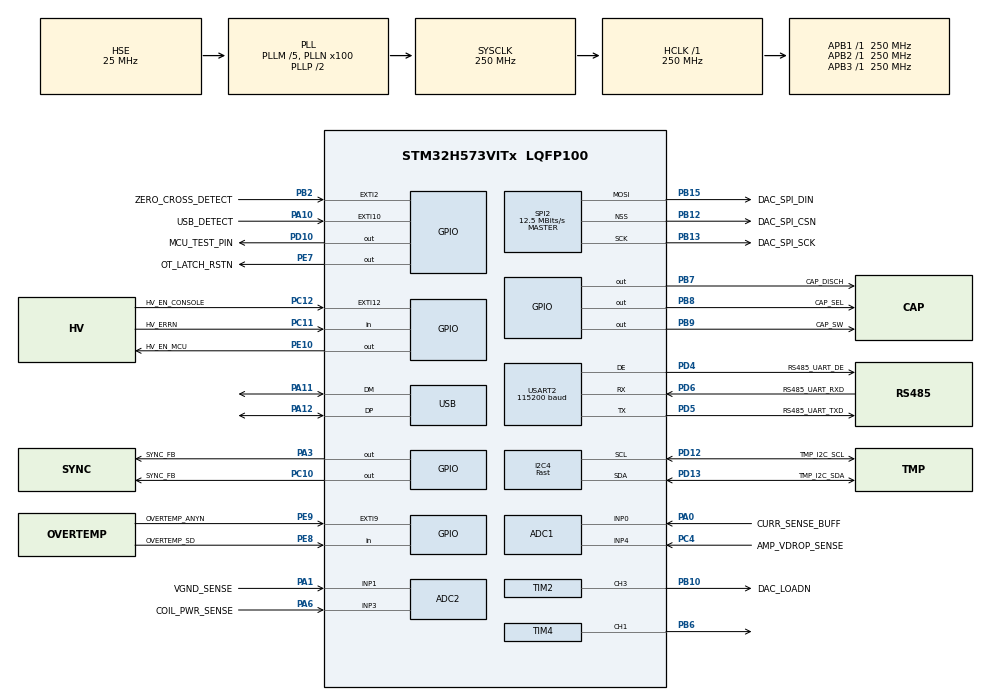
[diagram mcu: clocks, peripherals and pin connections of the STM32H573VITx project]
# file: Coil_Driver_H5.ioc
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ADC1.Channel-0\#ChannelRegularConversion=ADC_CHANNEL_0
ADC1.Channel-1\#ChannelRegularConversion=ADC_CHANNEL_4
ADC1.ContinuousConvMode=DISABLE
ADC1.ConversionDataManagement=ADC_CONVERSIONDATA_DMA_CIRCULAR
ADC1.DMAContinuousRequests=ENABLE
ADC1.EOCSelection=ADC_EOC_SEQ_CONV
ADC1.ExternalTrigConv=ADC_EXTERNALTRIG_T15_TRGO
ADC1.ExternalTrigConvEdge=ADC_EXTERNALTRIGCONVEDGE_RISING
ADC1.MonitoredBy-0\#ChannelRegularConversion=__NULL
ADC1.MonitoredBy-1\#ChannelRegularConversion=__NULL
ADC1.NbrOfConversion=2
ADC1.NbrOfConversionFlag=1
ADC1.OffsetNumber-0\#ChannelRegularConversion=ADC_OFFSET_NONE
ADC1.OffsetNumber-1\#ChannelRegularConversion=ADC_OFFSET_NONE
ADC1.Overrun=ADC_OVR_DATA_PRESERVED
ADC1.OversamplingMode=ENABLE
ADC1.OversamplingStopReset=ADC_REGOVERSAMPLING_RESUMED_MODE
ADC1.Rank-0\#ChannelRegularConversion=1
ADC1.Rank-1\#ChannelRegularConversion=2
ADC1.Ratio=ADC_OVERSAMPLING_RATIO_16
ADC1.RightBitShift=ADC_RIGHTBITSHIFT_NONE
ADC1.SamplingTime-0\#ChannelRegularConversion=ADC_SAMPLETIME_6CYCLES_5
ADC1.SamplingTime-1\#ChannelRegularConversion=ADC_SAMPLETIME_6CYCLES_5
ADC1.master=1
ADC2.Channel-0\#ChannelRegularConversion=ADC_CHANNEL_1
ADC2.Channel-1\#ChannelRegularConversion=ADC_CHANNEL_3
ADC2.ContinuousConvMode=DISABLE
ADC2.ConversionDataManagement=ADC_CONVERSIONDATA_DMA_CIRCULAR
ADC2.DMAContinuousRequests=ENABLE
ADC2.EOCSelection=ADC_EOC_SEQ_CONV
ADC2.ExternalTrigConv=ADC_EXTERNALTRIG_T15_TRGO
ADC2.MonitoredBy-0\#ChannelRegularConversion=__NULL
ADC2.MonitoredBy-1\#ChannelRegularConversion=__NULL
ADC2.NbrOfConversion=2
ADC2.NbrOfConversionFlag=1
ADC2.OffsetNumber-0\#ChannelRegularConversion=ADC_OFFSET_NONE
ADC2.OffsetNumber-1\#ChannelRegularConversion=ADC_OFFSET_NONE
ADC2.OversamplingMode=ENABLE
ADC2.OversamplingStopReset=ADC_REGOVERSAMPLING_RESUMED_MODE
ADC2.Rank-0\#ChannelRegularConversion=1
ADC2.Rank-1\#ChannelRegularConversion=2
ADC2.Ratio=ADC_OVERSAMPLING_RATIO_16
ADC2.RightBitShift=ADC_RIGHTBITSHIFT_NONE
ADC2.SamplingTime-0\#ChannelRegularConversion=ADC_SAMPLETIME_6CYCLES_5
ADC2.SamplingTime-1\#ChannelRegularConversion=ADC_SAMPLETIME_6CYCLES_5
BOOTPATH.BootPathName=LEGACY
BOOTPATH.UserSelectedBootPath=LEGACY
CORTEX_M33_NS.Number-Cortex_Memory_Protection_Unit_Region0_OTP_RO_AREAS_Settings=MPU_REGION_NUMBER0
CORTEX_M33_NS.default_mode_Activation=1
CORTEX_M33_NS.userName=CORTEX_M33
GPDMA1.CIRCULARMODE_GPDMACH0=ENABLE
GPDMA1.CIRCULARMODE_GPDMACH1=ENABLE
GPDMA1.DESTDATAWIDTH_GPDMACH0=DMA_DEST_DATAWIDTH_HALFWORD
GPDMA1.DESTDATAWIDTH_GPDMACH1=DMA_DEST_DATAWIDTH_HALFWORD
GPDMA1.DESTINC_GPDMACH0=DMA_DINC_INCREMENTED
GPDMA1.DESTINC_GPDMACH1=DMA_DINC_INCREMENTED
GPDMA1.IPHANDLE_GPDMACH0-SIMPLEREQUEST_GPDMACH0=__NULL
GPDMA1.IPHANDLE_GPDMACH1-SIMPLEREQUEST_GPDMACH1=__NULL
GPDMA1.LINKALLOCATEDPORT_CIRCULAR_GPDMACH0=DMA_LINK_ALLOCATED_PORT1
GPDMA1.LINKALLOCATEDPORT_CIRCULAR_GPDMACH1=DMA_LINK_ALLOCATED_PORT1
GPDMA1.PRIORITY_LL_CIRCULAR_GPDMACH0=DMA_LOW_PRIORITY_MID_WEIGHT
GPDMA1.PRIORITY_LL_CIRCULAR_GPDMACH1=DMA_LOW_PRIORITY_MID_WEIGHT
GPDMA1.REQUEST_GPDMACH0=GPDMA1_REQUEST_ADC1
GPDMA1.REQUEST_GPDMACH1=GPDMA1_REQUEST_ADC2
GPDMA1.SRCDATAWIDTH_GPDMACH0=DMA_SRC_DATAWIDTH_HALFWORD
GPDMA1.SRCDATAWIDTH_GPDMACH1=DMA_SRC_DATAWIDTH_HALFWORD
GPDMA1.TRANSFERALLOCATEDPORTDEST_GPDMACH0=DMA_DEST_ALLOCATED_PORT1
GPDMA1.TRANSFERALLOCATEDPORTDEST_GPDMACH1=DMA_DEST_ALLOCATED_PORT1
I2C4.I2C_Speed_Mode=I2C_Fast
I2C4.Timing=0x10C043E5
Mcu.Family=STM32H5
Mcu.Name=STM32H573VITx
Mcu.Package=LQFP100
NVIC.ADC1_IRQn=true\:0\:0\:false\:false\:true\:true\:true\:true
NVIC.EXTI10_IRQn=true\:0\:0\:false\:false\:true\:true\:false\:true
NVIC.EXTI12_IRQn=true\:0\:0\:false\:false\:true\:true\:false\:true
NVIC.EXTI2_IRQn=true\:0\:0\:false\:false\:true\:true\:false\:true
NVIC.EXTI9_IRQn=true\:0\:0\:false\:false\:true\:true\:false\:true
NVIC.GPDMA1_Channel0_IRQn=true\:0\:0\:false\:false\:true\:false\:true\:true
NVIC.GPDMA1_Channel1_IRQn=true\:0\:0\:false\:false\:true\:false\:true\:true
NVIC.I2C4_ER_IRQn=true\:0\:0\:false\:false\:true\:true\:true\:true
NVIC.I2C4_EV_IRQn=true\:0\:0\:false\:false\:true\:true\:true\:true
NVIC.PriorityGroup=NVIC_PRIORITYGROUP_4
NVIC.TIM2_IRQn=true\:0\:0\:false\:false\:true\:true\:false\:true
NVIC.USB_DRD_FS_IRQn=true\:10\:0\:true\:false\:true\:true\:true\:true
PA0.GPIO_Label=CURR_SENSE_BUFF
PA0.Signal=ADCx_INP0
PA1.GPIO_Label=VGND_SENSE
PA1.Signal=ADCx_INP1
PA10.GPIO_Label=USB_DETECT
PA10.GPIO_ModeDefaultEXTI=GPIO_MODE_IT_RISING_FALLING
PA10.Signal=GPXTI10
PA11.Mode=Device
PA11.Signal=USB_DM
PA12.Mode=Device
PA12.Signal=USB_DP
PA13(JTMS/SWDIO).GPIO_Label=SWDIO
PA13(JTMS/SWDIO).Mode=Trace_Asynchronous_SW
PA13(JTMS/SWDIO).Signal=DEBUG_JTMS-SWDIO
PA14(JTCK/SWCLK).GPIO_Label=SWCLK
PA14(JTCK/SWCLK).Mode=Trace_Asynchronous_SW
PA14(JTCK/SWCLK).Signal=DEBUG_JTCK-SWCLK
PA15(JTDI).GPIO_Label=SYNC_IN
PA15(JTDI).Signal=S_TIM2_ETR
PA3.GPIO_Label=SYNC_FB
PA3.Signal=GPIO_Output
PA6.GPIO_Label=COIL_PWR_SENSE
PA6.Signal=ADCx_INP3
PB0.Signal=S_TIM3_CH3
PB1.Signal=S_TIM3_CH4
PB10.GPIO_Label=DAC_LOADN
PB10.Signal=S_TIM2_CH3
PB12.GPIO_Label=DAC_SPI_CSN
PB12.GPIO_Mode=GPIO_MODE_AF_PP
PB12.GPIO_PuPd=GPIO_NOPULL
PB12.GPIO_Speed=GPIO_SPEED_FREQ_LOW
PB12.Mode=NSS_Signal_Hard_Output
PB12.Signal=SPI2_NSS
PB13.GPIO_Label=DAC_SPI_SCK
PB13.GPIO_Mode=GPIO_MODE_AF_PP
PB13.GPIO_PuPd=GPIO_NOPULL
PB13.GPIO_Speed=GPIO_SPEED_FREQ_LOW
PB13.Mode=TX_Only_Simplex_Unidirect_Master
PB13.Signal=SPI2_SCK
PB14.GPIO_Label=DAC_SPI_DOUT
PB14.Signal=SPI2_MISO
PB15.GPIO_Label=DAC_SPI_DIN
PB15.GPIO_Mode=GPIO_MODE_AF_PP
PB15.GPIO_PuPd=GPIO_NOPULL
PB15.GPIO_Speed=GPIO_SPEED_FREQ_LOW
PB15.Mode=TX_Only_Simplex_Unidirect_Master
PB15.Signal=SPI2_MOSI
PB2.GPIO_Label=ZERO_CROSS_DETECT
PB2.GPIO_ModeDefaultEXTI=GPIO_MODE_IT_RISING_FALLING
PB2.Signal=GPXTI2
PB3(JTDO/TRACESWO).GPIO_Label=SWO
PB3(JTDO/TRACESWO).Mode=Trace_Asynchronous_SW
PB3(JTDO/TRACESWO).Signal=DEBUG_JTDO-SWO
PB6.Signal=S_TIM4_CH1
PB7.GPIO_Label=CAP_DISCH
PB7.Signal=GPIO_Output
PB8.GPIO_Label=CAP_SEL
PB8.Signal=GPIO_Output
PB9.GPIO_Label=CAP_SW
PB9.Signal=GPIO_Output
PC10.GPIO_Label=SYNC_FB
PC10.Signal=GPIO_Output
PC11.GPIO_Label=HV_ERRN
PC11.Signal=GPIO_Input
PC12.GPIO_Label=HV_EN_CONSOLE
PC12.GPIO_ModeDefaultEXTI=GPIO_MODE_IT_RISING_FALLING
PC12.Signal=GPXTI12
PC4.GPIO_Label=AMP_VDROP_SENSE
PC4.GPIO_Mode=GPIO_MODE_ANALOG
PC4.GPIO_Pd=GPIO_NOPULL
PC4.Signal=ADCx_INP4
PC6.Signal=S_TIM3_CH1
PD10.GPIO_Label=MCU_TEST_PIN
PD10.Signal=GPIO_Output
PD12.GPIO_Label=TMP_I2C_SCL
PD12.Mode=I2C
PD12.Signal=I2C4_SCL
PD13.GPIO_Label=TMP_I2C_SDA
PD13.Mode=I2C
PD13.Signal=I2C4_SDA
PD4.GPIO_Label=RS485_UART_DE
PD4.Mode=Hardware Flow Control (RS485)
PD4.Signal=USART2_DE
PD5.GPIO_Label=RS485_UART_TXD
PD5.Mode=Asynchronous
PD5.Signal=USART2_TX
PD6.GPIO_Label=RS485_UART_RXD
PD6.Mode=Asynchronous
PD6.Signal=USART2_RX
PE10.GPIO_Label=HV_EN_MCU
PE10.Signal=GPIO_Output
PE7.GPIO_Label=OT_LATCH_RSTN
PE7.Signal=GPIO_Output
PE8.GPIO_Label=OVERTEMP_SD
PE8.Signal=GPIO_Input
PE9.GPIO_Label=OVERTEMP_ANYN
PE9.GPIO_ModeDefaultEXTI=GPIO_MODE_IT_FALLING
PE9.Signal=GPXTI9
PH0-OSC_IN(PH0).GPIO_Label=OSC_IN
PH0-OSC_IN(PH0).Mode=HSE-External-Clock-Source
PH0-OSC_IN(PH0).Signal=RCC_OSC_IN
ProjectManager.HeapSize=0x300
ProjectManager.StackSize=0x400
ProjectManager.TargetToolchain=STM32CubeIDE
RCC.ADCCLockSelection=RCC_ADCDACCLKSOURCE_PLL2R
RCC.ADCFreq_Value=60000000
RCC.AHBFreq_Value=250000000
RCC.APB1Freq_Value=250000000
RCC.APB1TimFreq_Value=250000000
RCC.APB2Freq_Value=250000000
RCC.APB2TimFreq_Value=250000000
RCC.APB3Freq_Value=250000000
RCC.CSI_VALUE=4000000
RCC.CortexFreq_Value=250000000
RCC.EPOD_VALUE=25000000
RCC.HCLKFreq_Value=250000000
RCC.HSE_VALUE=25000000
RCC.HSI48_VALUE=48000000
RCC.HSI_VALUE=64000000
RCC.LSE_VALUE=32768
RCC.LSIRC_VALUE=32000
RCC.PLL1Q=5
RCC.PLL2N=60
RCC.PLL2Q=4
RCC.PLL2R=4
RCC.PLLFRACN=0
RCC.PLLM=5
RCC.PLLN=100
RCC.PLLSourceVirtual=RCC_PLL1_SOURCE_HSE
RCC.SYSCLKFreq_VALUE=250000000
RCC.SYSCLKSource=RCC_SYSCLKSOURCE_PLLCLK
RCC.USART2CLockSelection=RCC_USART2CLKSOURCE_PLL2Q
RCC.USBFreq_Value=48000000
RCC.VCOOutputFreq_Value=500000000
SH.ADCx_INP0.0=ADC1_INP0,IN0-Single-Ended
SH.ADCx_INP1.0=ADC2_INP1,IN1-Single-Ended
SH.ADCx_INP3.0=ADC2_INP3,IN3-Single-Ended
SH.ADCx_INP4.0=ADC1_INP4,IN4-Single-Ended
SH.S_TIM2_CH3.0=TIM2_CH3,PWM Generation3 CH3
SH.S_TIM2_ETR.0=TIM2_ETR
SH.S_TIM3_CH1.0=TIM3_CH1
SH.S_TIM3_CH3.0=TIM3_CH3
SH.S_TIM3_CH4.0=TIM3_CH4
SH.S_TIM4_CH1.0=TIM4_CH1,PWM Generation1 CH1
SPI2.BaudRatePrescaler=SPI_BAUDRATEPRESCALER_8
SPI2.CLKPolarity=SPI_POLARITY_HIGH
SPI2.CalculateBaudRate=12.5 MBits/s
SPI2.DataSize=SPI_DATASIZE_24BIT
SPI2.Direction=SPI_DIRECTION_2LINES_TXONLY
SPI2.FifoThreshold=SPI_FIFO_THRESHOLD_01DATA
SPI2.MasterInterDataIdleness=SPI_MASTER_INTERDATA_IDLENESS_02CYCLE
SPI2.MasterSSIdleness=SPI_MASTER_SS_IDLENESS_02CYCLE
SPI2.Mode=SPI_MODE_MASTER
SPI2.NSSPMode=SPI_NSS_PULSE_ENABLE
SPI2.VirtualNSS=VM_NSSHARD
SPI2.VirtualType=VM_MASTER
TIM15.PeriodNoDither=4999
TIM15.TIM_MasterOutputTrigger=TIM_TRGO_UPDATE
TIM2.Channel-PWM\ Generation3\ CH3=TIM_CHANNEL_3
TIM2.OCMode_PWM-PWM\ Generation3\ CH3=TIM_OCMODE_PWM1
TIM2.PeriodNoDither=2499
TIM2.PulseNoDither_3=2479
TIM3.AutoReloadPreload=TIM_AUTORELOAD_PRELOAD_DISABLE
TIM3.PeriodNoDither=4999
TIM3.TIM_MasterOutputTrigger=TIM_TRGO_UPDATE
TIM4.Channel-PWM\ Generation1\ CH1=TIM_CHANNEL_1
TIM4.OCMode_PWM-PWM\ Generation1\ CH1=TIM_OCMODE_PWM2
TIM4.PeriodNoDither=4999
TIM4.PulseNoDither_1=10
TIM4.TIM_MasterOutputTrigger=TIM_TRGO_UPDATE
USART2.BaudRate=115200
USART2.FIFOMode=FIFOMODE_ENABLE
USART2.VirtualMode-Asynchronous=VM_ASYNC
USART2.VirtualMode-Hardware\ Flow\ Control\ (RS485)=VM_ASYNC
USB.VirtualMode=Device_Only
VP_BOOTPATH_VS_BOOTPATH.Mode=BP_Activate
VP_CORTEX_M33_NS_VS_Hclk.Mode=Hclk_Mode
VP_GPDMA1_VS_GPDMACH0.Mode=SIMPLEREQUEST_GPDMACH0
VP_GPDMA1_VS_GPDMACH1.Mode=SIMPLEREQUEST_GPDMACH1
VP_ICACHE_VS_ENABLE_ICACHE_MEMORY.Mode=Memoryregions
VP_ICACHE_VS_ICACHE.Mode=DefaultMode
VP_MEMORYMAP_VS_MEMORYMAP.Mode=CurAppReg
VP_PWR_VS_LPOM.Mode=PowerOptimisation
VP_PWR_VS_SECSignals.Mode=Security/Privilege
VP_TIM15_VS_ClockSourceINT.Mode=Internal
VP_TIM2_VS_ClockSourceINT.Mode=Internal
VP_TIM3_VS_ClockSourceINT.Mode=Internal
VP_TIM4_VS_ClockSourceINT.Mode=Internal
board=custom

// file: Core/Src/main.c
/* USER CODE BEGIN Header */
/**
  ******************************************************************************
  * @file           : main.c
  * @brief          : Main program body
  ******************************************************************************
  * @attention
  *
  * Copyright (c) 2026 STMicroelectronics.
  * All rights reserved.
  *
  * This software is licensed under terms that can be found in the LICENSE file
  * in the root directory of this software component.
  * If no LICENSE file comes with this software, it is provided AS-IS.
  *
  ******************************************************************************
  */
/* USER CODE END Header */
#include "main.h"
#include "adc.h"
#include "gpdma.h"
#include "i2c.h"
#include "icache.h"
#include "spi.h"
#include "tim.h"
#include "usart.h"
#include "usb.h"
#include "gpio.h"

/* USER CODE BEGIN Includes */
#include "dac_ad5689.h"
#include "usbd_cdc_if.h"
#include "dbg_print.h"
#include "tmp_tmp1075.h"
#include "hv_ctrl.h"
#include "usb_cmd.h"
/* USER CODE END Includes */

void SystemClock_Config(void);
void PeriphCommonClock_Config(void);
static void MPU_Config(void);

/* USER CODE BEGIN 0 */

extern USBD_HandleTypeDef hUsbDeviceFS;
extern uint8_t  gUSBCmdBuff[USB_CMD_SIZE_MAX];
extern uint16_t gUSBCmdSize;

extern uint8_t adc_updating;
extern ADC_HandleTypeDef   hadc1;
extern TIM_HandleTypeDef   htim3;

extern THV_State gHV_State;

uint32_t gUID[3]; //UID is 96 bits == 12 bytes

/* USER CODE END 0 */

int main(void)
{

  /* USER CODE BEGIN 1 */
  uint32_t tmp_cnt = 0;

  uint8_t tmp_step = 0;

  THV_State HV_State_Pre;

  //UID cannot be read when after MPU is configured, so read it here before that
  gUID[0] = HAL_GetUIDw0();
  gUID[1] = HAL_GetUIDw1();
  gUID[2] = HAL_GetUIDw2();
  /* USER CODE END 1 */

  /* MCU Configuration--------------------------------------------------------*/

  /* MPU Configuration--------------------------------------------------------*/
  MPU_Config();

  /* Reset of all peripherals, Initializes the Flash interface and the Systick. */
  HAL_Init();

  /* Configure the system clock */
  SystemClock_Config();

  /* Configure the peripherals common clocks */
  PeriphCommonClock_Config();

  /* Initialize all configured peripherals */
  MX_GPIO_Init();
  MX_GPDMA1_Init();
  MX_ADC1_Init();
  MX_SPI2_Init();
  MX_TIM2_Init();
  MX_TIM3_Init();
  MX_USART2_UART_Init();
  MX_USB_PCD_Init();
  MX_TIM4_Init();
  MX_I2C4_Init();
  MX_ICACHE_Init();
  MX_TIM15_Init();
  MX_ADC2_Init();
  /* USER CODE BEGIN 2 */

  if (HAL_GPIO_ReadPin(USB_DETECT_GPIO_Port, USB_DETECT_Pin) == GPIO_PIN_SET) {
     USB_CDC_Start();
  }

  HAL_Delay(100);

  Temp_Init();

  HV_init();

  //HAL_TIM_Base_Start(&htim2);
  //HAL_TIM_PWM_Start(&htim2, TIM_CHANNEL_3);
  /* USER CODE END 2 */

  /* Infinite loop */
  /* USER CODE BEGIN WHILE */
  HV_State_Pre = gHV_State;

  while (1)
  {
     if (gUSBCmdSize != 0) {
        USB_Cmd_Proc(gUSBCmdBuff, gUSBCmdSize);

        gUSBCmdSize = 0;
     }

    /* USER CODE END WHILE */

    /* USER CODE BEGIN 3 */
    if (HV_State_Pre.state != gHV_State.state) {
       DPrint_CStr("HV state changed: ");
       DPrint(HV_CMD_STR[(uint8_t)HV_State_Pre.state], HV_CMD_STR_LEN[(uint8_t)HV_State_Pre.state]);
       DPrint_CStr(" -> ");
       DPrint(HV_CMD_STR[(uint8_t)gHV_State.state], HV_CMD_STR_LEN[(uint8_t)HV_State_Pre.state]);
       DPrint_CStr("\r\n");
       HV_State_Pre.state = gHV_State.state;
    }
    if (HV_State_Pre.fault != gHV_State.fault) {
       DPrint_CStr("HV fault changed: ");
       DPrint_Hex((uint8_t)HV_State_Pre.fault);
       DPrint_CStr(" -> ");
       DPrint_Hex((uint8_t)gHV_State.fault);
       DPrint_CStr("\r\n");
       HV_State_Pre.fault = gHV_State.fault;
    }

    if (gHV_State.bias_on == 1 && HV_State_Pre.bias_on == 0) {
       DPrint_CStr("HV bias volt: OFF -> ON.\r\n");
    } else if (gHV_State.bias_on == 0 && HV_State_Pre.bias_on == 1) {
       DPrint_CStr("HV bias volt: ON -> OFF.\r\n");
    }
    HV_State_Pre.bias_on = gHV_State.bias_on;

    if (HV_State_Pre.curr_tgt != gHV_State.curr_tgt) {
       DPrint_CStr("HV target current changed: ");
       DPrint_Float(HV_State_Pre.curr_tgt, 3);
       DPrint_CStr("A -> ");
       DPrint_Float(gHV_State.curr_tgt, 3);
       DPrint_CStr("A.\r\n");
       HV_State_Pre.curr_tgt = gHV_State.curr_tgt;
    }
    if (HV_State_Pre.volt_tgt != gHV_State.volt_tgt) {
       DPrint_CStr("HV target voltage changed: ");
       DPrint_Float(HV_State_Pre.volt_tgt, 3);
       DPrint_CStr("V -> ");
       DPrint_Float(gHV_State.volt_tgt, 3);
       DPrint_CStr("V.\r\n");
       HV_State_Pre.volt_tgt = gHV_State.volt_tgt;
    }

  }
  /* USER CODE END 3 */
}

void SystemClock_Config(void)
{
  RCC_OscInitTypeDef RCC_OscInitStruct = {0};
  RCC_ClkInitTypeDef RCC_ClkInitStruct = {0};

  /** Configure the main internal regulator output voltage
  */
  __HAL_PWR_VOLTAGESCALING_CONFIG(PWR_REGULATOR_VOLTAGE_SCALE0);

  while(!__HAL_PWR_GET_FLAG(PWR_FLAG_VOSRDY)) {}

  /** Initializes the RCC Oscillators according to the specified parameters
  * in the RCC_OscInitTypeDef structure.
  */
  RCC_OscInitStruct.OscillatorType = RCC_OSCILLATORTYPE_HSI48|RCC_OSCILLATORTYPE_HSE
                              |RCC_OSCILLATORTYPE_CSI;
  RCC_OscInitStruct.HSEState = RCC_HSE_BYPASS;
  RCC_OscInitStruct.HSI48State = RCC_HSI48_ON;
  RCC_OscInitStruct.CSIState = RCC_CSI_ON;
  RCC_OscInitStruct.CSICalibrationValue = RCC_CSICALIBRATION_DEFAULT;
  RCC_OscInitStruct.PLL.PLLState = RCC_PLL_ON;
  RCC_OscInitStruct.PLL.PLLSource = RCC_PLL1_SOURCE_HSE;
  RCC_OscInitStruct.PLL.PLLM = 5;
  RCC_OscInitStruct.PLL.PLLN = 100;
  RCC_OscInitStruct.PLL.PLLP = 2;
  RCC_OscInitStruct.PLL.PLLQ = 5;
  RCC_OscInitStruct.PLL.PLLR = 2;
  RCC_OscInitStruct.PLL.PLLRGE = RCC_PLL1_VCIRANGE_2;
  RCC_OscInitStruct.PLL.PLLVCOSEL = RCC_PLL1_VCORANGE_WIDE;
  RCC_OscInitStruct.PLL.PLLFRACN = 0;
  if (HAL_RCC_OscConfig(&RCC_OscInitStruct) != HAL_OK)
  {
    Error_Handler();
  }

  /** Initializes the CPU, AHB and APB buses clocks
  */
  RCC_ClkInitStruct.ClockType = RCC_CLOCKTYPE_HCLK|RCC_CLOCKTYPE_SYSCLK
                              |RCC_CLOCKTYPE_PCLK1|RCC_CLOCKTYPE_PCLK2
                              |RCC_CLOCKTYPE_PCLK3;
  RCC_ClkInitStruct.SYSCLKSource = RCC_SYSCLKSOURCE_PLLCLK;
  RCC_ClkInitStruct.AHBCLKDivider = RCC_SYSCLK_DIV1;
  RCC_ClkInitStruct.APB1CLKDivider = RCC_HCLK_DIV1;
  RCC_ClkInitStruct.APB2CLKDivider = RCC_HCLK_DIV1;
  RCC_ClkInitStruct.APB3CLKDivider = RCC_HCLK_DIV1;

  if (HAL_RCC_ClockConfig(&RCC_ClkInitStruct, FLASH_LATENCY_5) != HAL_OK)
  {
    Error_Handler();
  }

  /** Configure the programming delay
  */
  __HAL_FLASH_SET_PROGRAM_DELAY(FLASH_PROGRAMMING_DELAY_2);
}

void PeriphCommonClock_Config(void)
{
  RCC_PeriphCLKInitTypeDef PeriphClkInitStruct = {0};

  /** Initializes the peripherals clock
  */
  PeriphClkInitStruct.PeriphClockSelection = RCC_PERIPHCLK_ADCDAC|RCC_PERIPHCLK_USART2;
  PeriphClkInitStruct.PLL2.PLL2Source = RCC_PLL2_SOURCE_CSI;
  PeriphClkInitStruct.PLL2.PLL2M = 1;
  PeriphClkInitStruct.PLL2.PLL2N = 60;
  PeriphClkInitStruct.PLL2.PLL2P = 2;
  PeriphClkInitStruct.PLL2.PLL2Q = 4;
  PeriphClkInitStruct.PLL2.PLL2R = 4;
  PeriphClkInitStruct.PLL2.PLL2RGE = RCC_PLL2_VCIRANGE_2;
  PeriphClkInitStruct.PLL2.PLL2VCOSEL = RCC_PLL2_VCORANGE_WIDE;
  PeriphClkInitStruct.PLL2.PLL2FRACN = 0;
  PeriphClkInitStruct.PLL2.PLL2ClockOut = RCC_PLL2_DIVQ|RCC_PLL2_DIVR;
  PeriphClkInitStruct.Usart2ClockSelection = RCC_USART2CLKSOURCE_PLL2Q;
  PeriphClkInitStruct.AdcDacClockSelection = RCC_ADCDACCLKSOURCE_PLL2R;
  if (HAL_RCCEx_PeriphCLKConfig(&PeriphClkInitStruct) != HAL_OK)
  {
    Error_Handler();
  }
}

 /* MPU Configuration */

void MPU_Config(void)
{
  MPU_Region_InitTypeDef MPU_InitStruct = {0};
  MPU_Attributes_InitTypeDef MPU_AttributesInit = {0};

  /* Disables the MPU */
  HAL_MPU_Disable();

  /** Initializes and configures the Region 0 and the memory to be protected
  */
  MPU_InitStruct.Enable = MPU_REGION_ENABLE;
  MPU_InitStruct.Number = MPU_REGION_NUMBER0;
  MPU_InitStruct.BaseAddress = 0x08FFF000;
  MPU_InitStruct.LimitAddress = 0x08FFFFFF;
  MPU_InitStruct.AttributesIndex = MPU_ATTRIBUTES_NUMBER0;
  MPU_InitStruct.AccessPermission = MPU_REGION_ALL_RO;
  MPU_InitStruct.DisableExec = MPU_INSTRUCTION_ACCESS_DISABLE;
  MPU_InitStruct.IsShareable = MPU_ACCESS_NOT_SHAREABLE;

  HAL_MPU_ConfigRegion(&MPU_InitStruct);

  /** Initializes and configures the Attribute 0 and the memory to be protected
  */
  MPU_AttributesInit.Number = MPU_ATTRIBUTES_NUMBER0;
  MPU_AttributesInit.Attributes = INNER_OUTER(MPU_NOT_CACHEABLE);

  HAL_MPU_ConfigMemoryAttributes(&MPU_AttributesInit);
  /* Enables the MPU */
  HAL_MPU_Enable(MPU_PRIVILEGED_DEFAULT);

}

void Error_Handler(void)
{
  __disable_irq();
  while (1)
  {
  }
}
